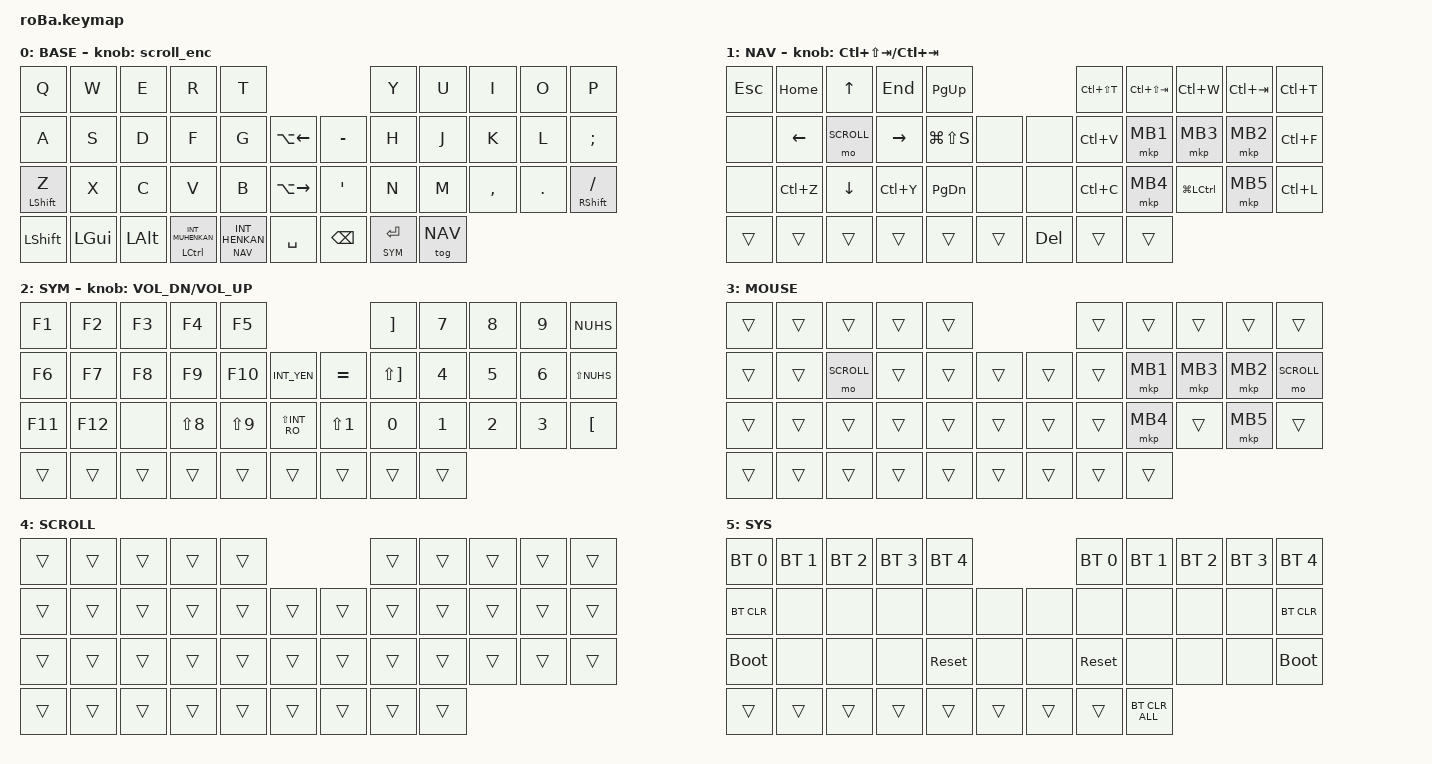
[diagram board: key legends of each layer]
/*
 * roBa keymap — Keyball44 からの移植（Windows 日本語(JIS)キーボード設定前提）
 * このファイルは手で編集してかまいません。記号は JIS で目的の文字が出るキーコードを使っています。
 */

#include <behaviors.dtsi>
#include <dt-bindings/zmk/bt.h>
#include <dt-bindings/zmk/keys.h>
#include <dt-bindings/zmk/pointing.h>

#define BASE 0
#define NAV 1
#define SYM 2
#define MOUSE 3
#define SCROLL 4
#define SYS 5

// ダイヤル（基本レイヤー）のスクロールの速さ（目盛り/秒）
#define ENC_SCRL 40

&mt {
    flavor = "balanced";
    tapping-term-ms = <200>;
    quick-tap-ms = <175>;
};

&lt {
    flavor = "balanced";
    tapping-term-ms = <200>;
    quick-tap-ms = <175>;
};

&trackball {
    automouse-layer = <MOUSE>;
    scroll-layers = <SCROLL>;
};

/ {
    behaviors {
        // Z と / の長押し Shift。速く打っている途中（直前のキーから 150ms 以内）は必ず文字にする
        hm_shift: hm_shift {
            compatible = "zmk,behavior-hold-tap";
            #binding-cells = <2>;
            flavor = "balanced";
            tapping-term-ms = <200>;
            quick-tap-ms = <175>;
            require-prior-idle-ms = <150>;
            bindings = <&kp>, <&kp>;
        };

        // &msc の値は「1秒あたりの目盛り数」。tap-ms の間だけ流れるので、
        // 既定の SCRL_UP/DOWN（10）だと 10 × 0.04 秒 = 0.4 目盛りになり、何も起きない。
        // 1クリックで 1〜2 目盛り進むように ENC_SCRL を大きくしている。多すぎ・少なすぎならここを変える。
        scroll_enc: scroll_encoder {
            compatible = "zmk,behavior-sensor-rotate";
            #sensor-binding-cells = <0>;
            bindings = <&msc MOVE_Y(-ENC_SCRL)>, <&msc MOVE_Y(ENC_SCRL)>;
            tap-ms = <40>;
        };
    };

    combos {
        compatible = "zmk,combos";

        esc {
            bindings = <&kp ESC>;
            key-positions = <0 1>;
            layers = <BASE>;
            timeout-ms = <40>;
            require-prior-idle-ms = <150>;
        };

        tab {
            bindings = <&kp TAB>;
            key-positions = <10 11>;
            layers = <BASE>;
            timeout-ms = <40>;
            require-prior-idle-ms = <150>;
        };
    };

    conditional_layers {
        compatible = "zmk,conditional-layers";

        sys {
            if-layers = <NAV SYM>;
            then-layer = <SYS>;
        };
    };

    keymap {
        compatible = "zmk,keymap";

        base_layer {
            display-name = "BASE";
            bindings = <
&kp Q      &kp W     &kp E     &kp R                   &kp T                                             &kp Y          &kp U     &kp I      &kp O    &kp P
&kp A      &kp S     &kp D     &kp F                   &kp G               &kp LA(LEFT)       &kp MINUS  &kp H          &kp J     &kp K      &kp L    &kp SEMI
&hm_shift LSHFT Z  &kp X  &kp C  &kp V             &kp B               &kp LA(RIGHT)      &kp SQT    &kp N          &kp M     &kp COMMA  &kp DOT  &hm_shift RSHFT SLASH
&kp LSHFT  &kp LGUI  &kp LALT  &mt LCTRL INT_MUHENKAN  &lt NAV INT_HENKAN  &kp SPACE          &kp BSPC   &lt SYM ENTER  &tog NAV
            >;
            sensor-bindings = <&scroll_enc>;
        };

        nav_layer {
            display-name = "NAV";
            bindings = <
&kp ESC     &kp HOME  &kp UP    &kp END    &kp PG_UP                           &kp LC(LS(T))  &kp LC(LS(TAB))  &kp LC(W)      &kp LC(TAB)  &kp LC(T)
&none       &kp LEFT   &mo SCROLL  &kp RIGHT &kp LG(LS(S))  &none       &none    &kp LC(V)      &mkp MB1         &mkp MB3       &mkp MB2     &kp LC(F)
&none       &kp LC(Z)  &kp DOWN  &kp LC(Y)  &kp PG_DN      &none       &none    &kp LC(C)      &mkp MB4         &kp LG(LCTRL)  &mkp MB5     &kp LC(L)
&trans      &trans     &trans    &trans     &trans         &trans      &kp DEL  &trans         &trans
            >;
            sensor-bindings = <&inc_dec_kp LC(LS(TAB)) LC(TAB)>;
        };

        sym_layer {
            display-name = "SYM";
            bindings = <
&kp F1   &kp F2   &kp F3  &kp F4      &kp F5                                      &kp RBKT      &kp N7  &kp N8  &kp N9  &kp NUHS
&kp F6   &kp F7   &kp F8  &kp F9      &kp F10     &kp INT_YEN         &kp EQUAL   &kp LS(RBKT)  &kp N4  &kp N5  &kp N6  &kp LS(NUHS)
&kp F11  &kp F12  &none   &kp LS(N8)  &kp LS(N9)  &kp LS(INT_RO)      &kp LS(N1)  &kp N0        &kp N1  &kp N2  &kp N3  &kp LBKT
&trans   &trans   &trans  &trans      &trans      &trans              &trans      &trans        &trans
            >;
            sensor-bindings = <&inc_dec_kp C_VOL_DN C_VOL_UP>;
        };

        mouse_layer {
            display-name = "MOUSE";
            bindings = <
&trans  &trans  &trans  &trans  &trans                      &trans  &trans    &trans    &trans    &trans
&trans  &trans  &mo SCROLL  &trans  &trans  &trans  &trans  &trans  &mkp MB1  &mkp MB3  &mkp MB2  &mo SCROLL
&trans  &trans  &trans  &trans  &trans  &trans      &trans  &trans  &mkp MB4  &trans    &mkp MB5  &trans
&trans  &trans  &trans  &trans  &trans  &trans      &trans  &trans  &trans
            >;
        };

        scroll_layer {
            display-name = "SCROLL";
            bindings = <
&trans  &trans  &trans  &trans  &trans                      &trans  &trans  &trans  &trans  &trans
&trans  &trans  &trans  &trans  &trans  &trans      &trans  &trans  &trans  &trans  &trans  &trans
&trans  &trans  &trans  &trans  &trans  &trans      &trans  &trans  &trans  &trans  &trans  &trans
&trans  &trans  &trans  &trans  &trans  &trans      &trans  &trans  &trans
            >;
        };

        sys_layer {
            display-name = "SYS";
            bindings = <
&bt BT_SEL 0  &bt BT_SEL 1  &bt BT_SEL 2  &bt BT_SEL 3  &bt BT_SEL 4                      &bt BT_SEL 0  &bt BT_SEL 1    &bt BT_SEL 2  &bt BT_SEL 3  &bt BT_SEL 4
&bt BT_CLR    &none         &none         &none         &none         &none       &none   &none         &none           &none         &none         &bt BT_CLR
&bootloader   &none         &none         &none         &sys_reset    &none       &none   &sys_reset    &none           &none         &none         &bootloader
&trans        &trans        &trans        &trans        &trans        &trans      &trans  &trans        &bt BT_CLR_ALL
            >;
        };
    };
};
